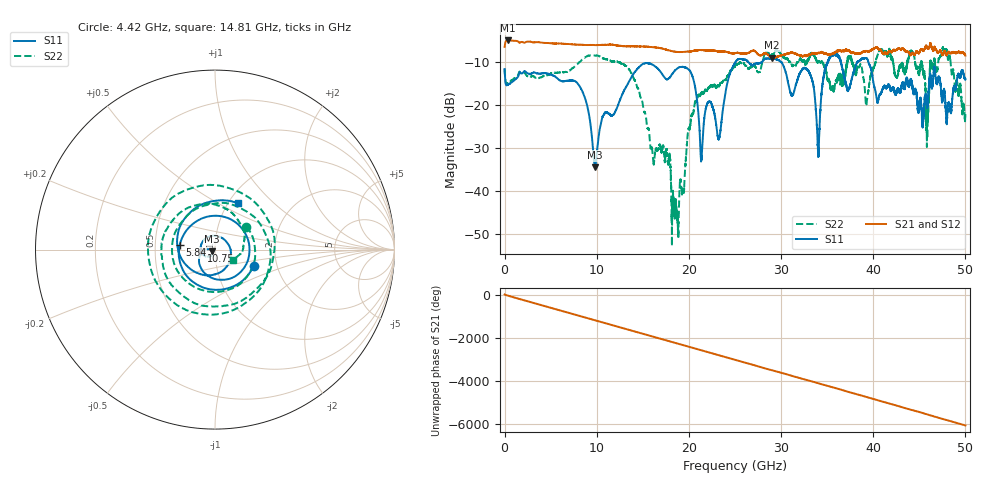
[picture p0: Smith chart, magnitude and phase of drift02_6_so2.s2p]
!Created with skrf (http://scikit-rf.org).
# Hz S RI R 50.0
!freq ReS11 ImS11 ReS21 ImS21 ReS12 ImS12 ReS22 ImS22
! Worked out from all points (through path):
!   10001 points, 300 kHz to 50 GHz, reference 50 ohm
!   highest |S21| = -5.04 dB at 325.3 MHz (marker M1); lowest = -9.0 dB at 29.05 GHz (marker M2)
!   group delay of S21, straight-line fit = 336 ps
!   lowest |S11| = -34.5 dB at 9.815 GHz (marker M3), VSWR 1.04, Z = 48.4 - j0.898 ohm
!   |S11| at or under -10 dB: start of sweep to 25.07 GHz; 29.98 GHz to 35.07 GHz (5.084 GHz wide, 15.6 % of centre); 39.47 GHz to end of sweep (the widest 3 of 11)
!   |S22| runs from -52.8 to -6.5 dB; largest |S21 - S12| = 0.022
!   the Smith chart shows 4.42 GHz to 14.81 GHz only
!   S11 on the Smith chart (normalised r, x): 4.42 GHz: 1.51, -0.29; 5.84 GHz: 0.67, +0.04; 10.75 GHz: 0.86, -0.02; 14.81 GHz: 1.11, +0.62
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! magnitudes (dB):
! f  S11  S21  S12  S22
! 300 kHz  -11.7  -6.5  -6.4  -11.6
! 325.3 MHz  -15.4  -5.0  -5.0  -15.0
! 4.42 GHz  -12.6  -5.6  -5.6  -13.3
! 5.84 GHz  -14.1  -5.7  -5.7  -12.5
! 8.335 GHz  -16.4  -6.1  -6.0  -9.6
! 9.815 GHz  -34.5  -6.1  -6.1  -8.5
! 10.75 GHz  -22.3  -6.1  -6.1  -9.2
! 14.81 GHz  -10.8  -6.4  -6.4  -18.5
! 16.67 GHz  -11.7  -6.7  -6.7  -30.3
! 18.68 GHz  -11.7  -7.7  -7.7  -45.6
! 20.37 GHz  -13.3  -7.5  -7.5  -22.3
! 21.36 GHz  -32.6  -7.2  -7.3  -17.1
! 23.3 GHz  -27.6  -7.6  -7.6  -15.6
! 25 GHz  -10.2  -7.9  -8.0  -11.0
! 29.05 GHz  -9.1  -9.0  -9.0  -8.3
! 33.34 GHz  -14.0  -8.1  -8.1  -8.1
! 34.02 GHz  -32.0  -8.0  -7.9  -10.0
! 35.52 GHz  -8.5  -8.2  -8.1  -15.9
! 41.67 GHz  -15.4  -7.7  -7.8  -7.7
! 45.85 GHz  -20.4  -6.7  -6.8  -22.3
! 47.76 GHz  -17.0  -7.5  -7.5  -7.4
! 50 GHz  -14.0  -8.5  -8.5  -22.1
